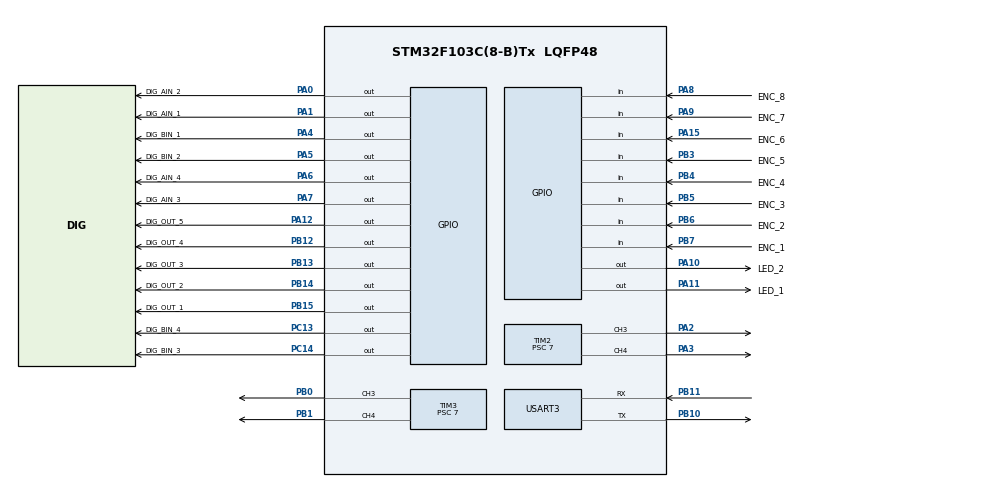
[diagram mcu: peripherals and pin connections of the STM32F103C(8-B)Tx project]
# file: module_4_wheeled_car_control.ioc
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Mcu.Family=STM32F1
Mcu.Name=STM32F103C(8-B)Tx
Mcu.Package=LQFP48
NVIC.PriorityGroup=NVIC_PRIORITYGROUP_4
NVIC.USART3_IRQn=true\:0\:0\:false\:false\:true\:true\:true
PA0-WKUP.GPIO_Label=DIG_AIN_2
PA0-WKUP.Signal=GPIO_Output
PA1.GPIO_Label=DIG_AIN_1
PA1.Signal=GPIO_Output
PA10.GPIO_Label=LED_2
PA10.Signal=GPIO_Output
PA11.GPIO_Label=LED_1
PA11.Signal=GPIO_Output
PA12.GPIO_Label=DIG_OUT_5
PA12.Signal=GPIO_Output
PA13.Mode=Serial_Wire
PA13.Signal=SYS_JTMS-SWDIO
PA14.Mode=Serial_Wire
PA14.Signal=SYS_JTCK-SWCLK
PA15.GPIO_Label=ENC_6
PA15.Signal=GPIO_Input
PA2.Signal=S_TIM2_CH3
PA3.Signal=S_TIM2_CH4
PA4.GPIO_Label=DIG_BIN_1
PA4.Signal=GPIO_Output
PA5.GPIO_Label=DIG_BIN_2
PA5.Signal=GPIO_Output
PA6.GPIO_Label=DIG_AIN_4
PA6.Signal=GPIO_Output
PA7.GPIO_Label=DIG_AIN_3
PA7.Signal=GPIO_Output
PA8.GPIO_Label=ENC_8
PA8.Signal=GPIO_Input
PA9.GPIO_Label=ENC_7
PA9.Signal=GPIO_Input
PB0.Signal=S_TIM3_CH3
PB1.Signal=S_TIM3_CH4
PB10.Mode=Asynchronous
PB10.Signal=USART3_TX
PB11.Mode=Asynchronous
PB11.Signal=USART3_RX
PB12.GPIO_Label=DIG_OUT_4
PB12.Signal=GPIO_Output
PB13.GPIO_Label=DIG_OUT_3
PB13.Signal=GPIO_Output
PB14.GPIO_Label=DIG_OUT_2
PB14.Signal=GPIO_Output
PB15.GPIO_Label=DIG_OUT_1
PB15.Signal=GPIO_Output
PB3.GPIO_Label=ENC_5
PB3.Signal=GPIO_Input
PB4.GPIO_Label=ENC_4
PB4.Signal=GPIO_Input
PB5.GPIO_Label=ENC_3
PB5.Signal=GPIO_Input
PB6.GPIO_Label=ENC_2
PB6.Signal=GPIO_Input
PB7.GPIO_Label=ENC_1
PB7.Signal=GPIO_Input
PC13-TAMPER-RTC.GPIO_Label=DIG_BIN_4
PC13-TAMPER-RTC.Signal=GPIO_Output
PC14-OSC32_IN.GPIO_Label=DIG_BIN_3
PC14-OSC32_IN.Signal=GPIO_Output
ProjectManager.HeapSize=0x200
ProjectManager.StackSize=0x400
ProjectManager.TargetToolchain=STM32CubeIDE
RCC.APB1Freq_Value=8000000
RCC.APB2Freq_Value=8000000
SH.S_TIM2_CH3.0=TIM2_CH3,PWM Generation3 CH3
SH.S_TIM2_CH4.0=TIM2_CH4,PWM Generation4 CH4
SH.S_TIM3_CH3.0=TIM3_CH3,PWM Generation3 CH3
SH.S_TIM3_CH4.0=TIM3_CH4,PWM Generation4 CH4
TIM2.Channel-PWM\ Generation3\ CH3=TIM_CHANNEL_3
TIM2.Channel-PWM\ Generation4\ CH4=TIM_CHANNEL_4
TIM2.Period=999
TIM2.Prescaler=7
TIM3.Channel-PWM\ Generation3\ CH3=TIM_CHANNEL_3
TIM3.Channel-PWM\ Generation4\ CH4=TIM_CHANNEL_4
TIM3.Period=999
TIM3.Prescaler=7
USART3.VirtualMode=VM_ASYNC
VP_TIM2_VS_ClockSourceINT.Mode=Internal
board=custom

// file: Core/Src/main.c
/* USER CODE BEGIN Header */
/**
  ******************************************************************************
  * @file           : main.c
  * @brief          : Main program body
  ******************************************************************************
  * @attention
  *
  * Copyright (c) 2022 STMicroelectronics.
  * All rights reserved.
  *
  * This software is licensed under terms that can be found in the LICENSE file
  * in the root directory of this software component.
  * If no LICENSE file comes with this software, it is provided AS-IS.
  *
  ******************************************************************************
  */
/* USER CODE END Header */
#include "main.h"

/* USER CODE BEGIN Includes */
#include "car_motors_control.h"
/* USER CODE END Includes */

/* USER CODE BEGIN PTD */
#define TEST_DIR 1
/* USER CODE END PTD */

TIM_HandleTypeDef htim2;
TIM_HandleTypeDef htim3;

UART_HandleTypeDef huart3;

/* USER CODE BEGIN PV */
uint8_t test_buf[2];
/* USER CODE END PV */

void SystemClock_Config(void);
static void MX_GPIO_Init(void);
static void MX_TIM2_Init(void);
static void MX_TIM3_Init(void);
static void MX_USART3_UART_Init(void);

/* USER CODE BEGIN 0 */
void encoders_reading(GPIO_TypeDef *prt_1, uint16_t pin_1, GPIO_TypeDef *prt_2, uint16_t pin_2) {
	if (HAL_GPIO_ReadPin(prt_1, pin_1)) {
		HAL_GPIO_WritePin(LED_1_GPIO_Port, LED_1_Pin, 1);
	} else {
		HAL_GPIO_WritePin(LED_1_GPIO_Port, LED_1_Pin, 0);
	}

	if (HAL_GPIO_ReadPin(prt_2, pin_2)) {
		HAL_GPIO_WritePin(LED_2_GPIO_Port, LED_2_Pin, 1);
	} else {
		HAL_GPIO_WritePin(LED_2_GPIO_Port, LED_2_Pin, 0);
	}
}

void test_motor(uint8_t dc_num, uint32_t testing_time,  uint8_t test_direction) {
	switch (dc_num) {
		case 1:
		case 2:
		case 3:
		case 4:
			move_motor(dc_num, test_direction, 100);
			break;
		default:
			stop_all_motors();
			break;
	}

	if (testing_time < HAL_MAX_DELAY) testing_time += (uint32_t)(uwTickFreq);
	uint32_t tickstart = HAL_GetTick();

	while ((HAL_GetTick() - tickstart) < testing_time) {
		switch (dc_num) {
			case 1:
				encoders_reading(ENC_1_GPIO_Port, ENC_1_Pin, ENC_2_GPIO_Port, ENC_2_Pin);
				break;
			case 2:
				encoders_reading(ENC_3_GPIO_Port, ENC_3_Pin, ENC_4_GPIO_Port, ENC_4_Pin);
				break;
			case 3:
				encoders_reading(ENC_5_GPIO_Port, ENC_5_Pin, ENC_6_GPIO_Port, ENC_6_Pin);
				break;
			case 4:
				encoders_reading(ENC_7_GPIO_Port, ENC_7_Pin, ENC_8_GPIO_Port, ENC_8_Pin);
				break;
		}
	}
}

void test_motors_and_encoders(void) {
	test_motor(1, 5000, 0);
	stop_motor(1);
	HAL_Delay(500);
	test_motor(1, 5000, 1);
	stop_motor(1);
	HAL_Delay(500);

	test_motor(2, 5000, 0);
	stop_motor(2);
	HAL_Delay(500);
	test_motor(2, 5000, 1);
	stop_motor(2);
	HAL_Delay(500);

	test_motor(3, 5000, 0);
	stop_motor(3);
	HAL_Delay(500);
	test_motor(3, 5000, 1);
	stop_motor(3);
	HAL_Delay(500);

	test_motor(4, 5000, 0);
	stop_motor(4);
	HAL_Delay(500);
	test_motor(4, 5000, 1);
	stop_motor(4);
	HAL_Delay(500);
}

void d_out_test(void) {
	HAL_GPIO_WritePin(DIG_OUT_1_GPIO_Port, DIG_OUT_1_Pin, 1);
	HAL_GPIO_WritePin(DIG_OUT_2_GPIO_Port, DIG_OUT_2_Pin, 0);
	HAL_GPIO_WritePin(DIG_OUT_3_GPIO_Port, DIG_OUT_3_Pin, 0);
	HAL_GPIO_WritePin(DIG_OUT_4_GPIO_Port, DIG_OUT_4_Pin, 0);
	HAL_GPIO_WritePin(DIG_OUT_5_GPIO_Port, DIG_OUT_5_Pin, 0);
	HAL_Delay(5000);
	HAL_GPIO_WritePin(DIG_OUT_1_GPIO_Port, DIG_OUT_1_Pin, 0);
	HAL_GPIO_WritePin(DIG_OUT_2_GPIO_Port, DIG_OUT_2_Pin, 1);
	HAL_GPIO_WritePin(DIG_OUT_3_GPIO_Port, DIG_OUT_3_Pin, 0);
	HAL_GPIO_WritePin(DIG_OUT_4_GPIO_Port, DIG_OUT_4_Pin, 0);
	HAL_GPIO_WritePin(DIG_OUT_5_GPIO_Port, DIG_OUT_5_Pin, 0);
	HAL_Delay(5000);
	HAL_GPIO_WritePin(DIG_OUT_1_GPIO_Port, DIG_OUT_1_Pin, 0);
	HAL_GPIO_WritePin(DIG_OUT_2_GPIO_Port, DIG_OUT_2_Pin, 0);
	HAL_GPIO_WritePin(DIG_OUT_3_GPIO_Port, DIG_OUT_3_Pin, 1);
	HAL_GPIO_WritePin(DIG_OUT_4_GPIO_Port, DIG_OUT_4_Pin, 0);
	HAL_GPIO_WritePin(DIG_OUT_5_GPIO_Port, DIG_OUT_5_Pin, 0);
	HAL_Delay(5000);
	HAL_GPIO_WritePin(DIG_OUT_1_GPIO_Port, DIG_OUT_1_Pin, 0);
	HAL_GPIO_WritePin(DIG_OUT_2_GPIO_Port, DIG_OUT_2_Pin, 0);
	HAL_GPIO_WritePin(DIG_OUT_3_GPIO_Port, DIG_OUT_3_Pin, 0);
	HAL_GPIO_WritePin(DIG_OUT_4_GPIO_Port, DIG_OUT_4_Pin, 1);
	HAL_GPIO_WritePin(DIG_OUT_5_GPIO_Port, DIG_OUT_5_Pin, 0);
	HAL_Delay(5000);
	HAL_GPIO_WritePin(DIG_OUT_1_GPIO_Port, DIG_OUT_1_Pin, 0);
	HAL_GPIO_WritePin(DIG_OUT_2_GPIO_Port, DIG_OUT_2_Pin, 0);
	HAL_GPIO_WritePin(DIG_OUT_3_GPIO_Port, DIG_OUT_3_Pin, 0);
	HAL_GPIO_WritePin(DIG_OUT_4_GPIO_Port, DIG_OUT_4_Pin, 0);
	HAL_GPIO_WritePin(DIG_OUT_5_GPIO_Port, DIG_OUT_5_Pin, 1);
	HAL_Delay(5000);
}

void HAL_UART_RxCpltCallback(UART_HandleTypeDef *huart) {
	if (test_buf[0] == 'L') {
		switch (test_buf[1]) {
			case '0':
				HAL_GPIO_WritePin(LED_1_GPIO_Port, LED_1_Pin, 1);
				HAL_GPIO_WritePin(LED_2_GPIO_Port, LED_2_Pin, 0);
				break;
			case '1':
				HAL_GPIO_WritePin(LED_1_GPIO_Port, LED_1_Pin, 0);
				HAL_GPIO_WritePin(LED_2_GPIO_Port, LED_2_Pin, 1);
				break;
		}
	}

	HAL_UART_Receive_IT(&huart3, (uint8_t *) test_buf, sizeof(test_buf));
}
/* USER CODE END 0 */

int main(void)
{

  /* MCU Configuration--------------------------------------------------------*/

  /* Reset of all peripherals, Initializes the Flash interface and the Systick. */
  HAL_Init();

  /* Configure the system clock */
  SystemClock_Config();

  /* Initialize all configured peripherals */
  MX_GPIO_Init();
  MX_TIM2_Init();
  MX_TIM3_Init();
  MX_USART3_UART_Init();
  /* USER CODE BEGIN 2 */
  init_motors();
  /* USER CODE END 2 */

  /* Infinite loop */
  /* USER CODE BEGIN WHILE */
//  move_motor(1, 1, 900);
  HAL_UART_Receive_IT(&huart3, (uint8_t *) test_buf, sizeof(test_buf));
  while (1) {

//	  test_motors_and_encoders();
//	  d_out_test();
    /* USER CODE END WHILE */

  }
}

void SystemClock_Config(void)
{
  RCC_OscInitTypeDef RCC_OscInitStruct = {0};
  RCC_ClkInitTypeDef RCC_ClkInitStruct = {0};

  /** Initializes the RCC Oscillators according to the specified parameters
  * in the RCC_OscInitTypeDef structure.
  */
  RCC_OscInitStruct.OscillatorType = RCC_OSCILLATORTYPE_HSI;
  RCC_OscInitStruct.HSIState = RCC_HSI_ON;
  RCC_OscInitStruct.HSICalibrationValue = RCC_HSICALIBRATION_DEFAULT;
  RCC_OscInitStruct.PLL.PLLState = RCC_PLL_NONE;
  if (HAL_RCC_OscConfig(&RCC_OscInitStruct) != HAL_OK)
  {
    Error_Handler();
  }
  /** Initializes the CPU, AHB and APB buses clocks
  */
  RCC_ClkInitStruct.ClockType = RCC_CLOCKTYPE_HCLK|RCC_CLOCKTYPE_SYSCLK
                              |RCC_CLOCKTYPE_PCLK1|RCC_CLOCKTYPE_PCLK2;
  RCC_ClkInitStruct.SYSCLKSource = RCC_SYSCLKSOURCE_HSI;
  RCC_ClkInitStruct.AHBCLKDivider = RCC_SYSCLK_DIV1;
  RCC_ClkInitStruct.APB1CLKDivider = RCC_HCLK_DIV1;
  RCC_ClkInitStruct.APB2CLKDivider = RCC_HCLK_DIV1;

  if (HAL_RCC_ClockConfig(&RCC_ClkInitStruct, FLASH_LATENCY_0) != HAL_OK)
  {
    Error_Handler();
  }
}

static void MX_TIM2_Init(void)
{

  TIM_ClockConfigTypeDef sClockSourceConfig = {0};
  TIM_MasterConfigTypeDef sMasterConfig = {0};
  TIM_OC_InitTypeDef sConfigOC = {0};

  htim2.Instance = TIM2;
  htim2.Init.Prescaler = 7;
  htim2.Init.CounterMode = TIM_COUNTERMODE_UP;
  htim2.Init.Period = 999;
  htim2.Init.ClockDivision = TIM_CLOCKDIVISION_DIV1;
  htim2.Init.AutoReloadPreload = TIM_AUTORELOAD_PRELOAD_DISABLE;
  if (HAL_TIM_Base_Init(&htim2) != HAL_OK)
  {
    Error_Handler();
  }
  sClockSourceConfig.ClockSource = TIM_CLOCKSOURCE_INTERNAL;
  if (HAL_TIM_ConfigClockSource(&htim2, &sClockSourceConfig) != HAL_OK)
  {
    Error_Handler();
  }
  if (HAL_TIM_PWM_Init(&htim2) != HAL_OK)
  {
    Error_Handler();
  }
  sMasterConfig.MasterOutputTrigger = TIM_TRGO_RESET;
  sMasterConfig.MasterSlaveMode = TIM_MASTERSLAVEMODE_DISABLE;
  if (HAL_TIMEx_MasterConfigSynchronization(&htim2, &sMasterConfig) != HAL_OK)
  {
    Error_Handler();
  }
  sConfigOC.OCMode = TIM_OCMODE_PWM1;
  sConfigOC.Pulse = 0;
  sConfigOC.OCPolarity = TIM_OCPOLARITY_HIGH;
  sConfigOC.OCFastMode = TIM_OCFAST_DISABLE;
  if (HAL_TIM_PWM_ConfigChannel(&htim2, &sConfigOC, TIM_CHANNEL_3) != HAL_OK)
  {
    Error_Handler();
  }
  if (HAL_TIM_PWM_ConfigChannel(&htim2, &sConfigOC, TIM_CHANNEL_4) != HAL_OK)
  {
    Error_Handler();
  }
  HAL_TIM_MspPostInit(&htim2);

}

static void MX_TIM3_Init(void)
{

  TIM_MasterConfigTypeDef sMasterConfig = {0};
  TIM_OC_InitTypeDef sConfigOC = {0};

  htim3.Instance = TIM3;
  htim3.Init.Prescaler = 7;
  htim3.Init.CounterMode = TIM_COUNTERMODE_UP;
  htim3.Init.Period = 999;
  htim3.Init.ClockDivision = TIM_CLOCKDIVISION_DIV1;
  htim3.Init.AutoReloadPreload = TIM_AUTORELOAD_PRELOAD_DISABLE;
  if (HAL_TIM_PWM_Init(&htim3) != HAL_OK)
  {
    Error_Handler();
  }
  sMasterConfig.MasterOutputTrigger = TIM_TRGO_RESET;
  sMasterConfig.MasterSlaveMode = TIM_MASTERSLAVEMODE_DISABLE;
  if (HAL_TIMEx_MasterConfigSynchronization(&htim3, &sMasterConfig) != HAL_OK)
  {
    Error_Handler();
  }
  sConfigOC.OCMode = TIM_OCMODE_PWM1;
  sConfigOC.Pulse = 0;
  sConfigOC.OCPolarity = TIM_OCPOLARITY_HIGH;
  sConfigOC.OCFastMode = TIM_OCFAST_DISABLE;
  if (HAL_TIM_PWM_ConfigChannel(&htim3, &sConfigOC, TIM_CHANNEL_3) != HAL_OK)
  {
    Error_Handler();
  }
  if (HAL_TIM_PWM_ConfigChannel(&htim3, &sConfigOC, TIM_CHANNEL_4) != HAL_OK)
  {
    Error_Handler();
  }
  HAL_TIM_MspPostInit(&htim3);

}

static void MX_USART3_UART_Init(void)
{

  huart3.Instance = USART3;
  huart3.Init.BaudRate = 115200;
  huart3.Init.WordLength = UART_WORDLENGTH_8B;
  huart3.Init.StopBits = UART_STOPBITS_1;
  huart3.Init.Parity = UART_PARITY_NONE;
  huart3.Init.Mode = UART_MODE_TX_RX;
  huart3.Init.HwFlowCtl = UART_HWCONTROL_NONE;
  huart3.Init.OverSampling = UART_OVERSAMPLING_16;
  if (HAL_UART_Init(&huart3) != HAL_OK)
  {
    Error_Handler();
  }

}

static void MX_GPIO_Init(void)
{
  GPIO_InitTypeDef GPIO_InitStruct = {0};

  /* GPIO Ports Clock Enable */
  __HAL_RCC_GPIOC_CLK_ENABLE();
  __HAL_RCC_GPIOA_CLK_ENABLE();
  __HAL_RCC_GPIOB_CLK_ENABLE();

  /*Configure GPIO pin Output Level */
  HAL_GPIO_WritePin(GPIOC, DIG_BIN_4_Pin|DIG_BIN_3_Pin, GPIO_PIN_RESET);

  /*Configure GPIO pin Output Level */
  HAL_GPIO_WritePin(GPIOA, DIG_AIN_2_Pin|DIG_AIN_1_Pin|DIG_BIN_1_Pin|DIG_BIN_2_Pin
                          |DIG_AIN_4_Pin|DIG_AIN_3_Pin|LED_2_Pin|LED_1_Pin
                          |DIG_OUT_5_Pin, GPIO_PIN_RESET);

  /*Configure GPIO pin Output Level */
  HAL_GPIO_WritePin(GPIOB, DIG_OUT_4_Pin|DIG_OUT_3_Pin|DIG_OUT_2_Pin|DIG_OUT_1_Pin, GPIO_PIN_RESET);

  /*Configure GPIO pins : DIG_BIN_4_Pin DIG_BIN_3_Pin */
  GPIO_InitStruct.Pin = DIG_BIN_4_Pin|DIG_BIN_3_Pin;
  GPIO_InitStruct.Mode = GPIO_MODE_OUTPUT_PP;
  GPIO_InitStruct.Pull = GPIO_NOPULL;
  GPIO_InitStruct.Speed = GPIO_SPEED_FREQ_LOW;
  HAL_GPIO_Init(GPIOC, &GPIO_InitStruct);

  /*Configure GPIO pins : DIG_AIN_2_Pin DIG_AIN_1_Pin DIG_BIN_1_Pin DIG_BIN_2_Pin
                           DIG_AIN_4_Pin DIG_AIN_3_Pin LED_2_Pin LED_1_Pin
                           DIG_OUT_5_Pin */
  GPIO_InitStruct.Pin = DIG_AIN_2_Pin|DIG_AIN_1_Pin|DIG_BIN_1_Pin|DIG_BIN_2_Pin
                          |DIG_AIN_4_Pin|DIG_AIN_3_Pin|LED_2_Pin|LED_1_Pin
                          |DIG_OUT_5_Pin;
  GPIO_InitStruct.Mode = GPIO_MODE_OUTPUT_PP;
  GPIO_InitStruct.Pull = GPIO_NOPULL;
  GPIO_InitStruct.Speed = GPIO_SPEED_FREQ_LOW;
  HAL_GPIO_Init(GPIOA, &GPIO_InitStruct);

  /*Configure GPIO pins : DIG_OUT_4_Pin DIG_OUT_3_Pin DIG_OUT_2_Pin DIG_OUT_1_Pin */
  GPIO_InitStruct.Pin = DIG_OUT_4_Pin|DIG_OUT_3_Pin|DIG_OUT_2_Pin|DIG_OUT_1_Pin;
  GPIO_InitStruct.Mode = GPIO_MODE_OUTPUT_PP;
  GPIO_InitStruct.Pull = GPIO_NOPULL;
  GPIO_InitStruct.Speed = GPIO_SPEED_FREQ_LOW;
  HAL_GPIO_Init(GPIOB, &GPIO_InitStruct);

  /*Configure GPIO pins : ENC_8_Pin ENC_7_Pin ENC_6_Pin */
  GPIO_InitStruct.Pin = ENC_8_Pin|ENC_7_Pin|ENC_6_Pin;
  GPIO_InitStruct.Mode = GPIO_MODE_INPUT;
  GPIO_InitStruct.Pull = GPIO_NOPULL;
  HAL_GPIO_Init(GPIOA, &GPIO_InitStruct);

  /*Configure GPIO pins : ENC_5_Pin ENC_4_Pin ENC_3_Pin ENC_2_Pin
                           ENC_1_Pin */
  GPIO_InitStruct.Pin = ENC_5_Pin|ENC_4_Pin|ENC_3_Pin|ENC_2_Pin
                          |ENC_1_Pin;
  GPIO_InitStruct.Mode = GPIO_MODE_INPUT;
  GPIO_InitStruct.Pull = GPIO_NOPULL;
  HAL_GPIO_Init(GPIOB, &GPIO_InitStruct);

}

void Error_Handler(void)
{
  __disable_irq();
  while (1)
  {
  }
}
